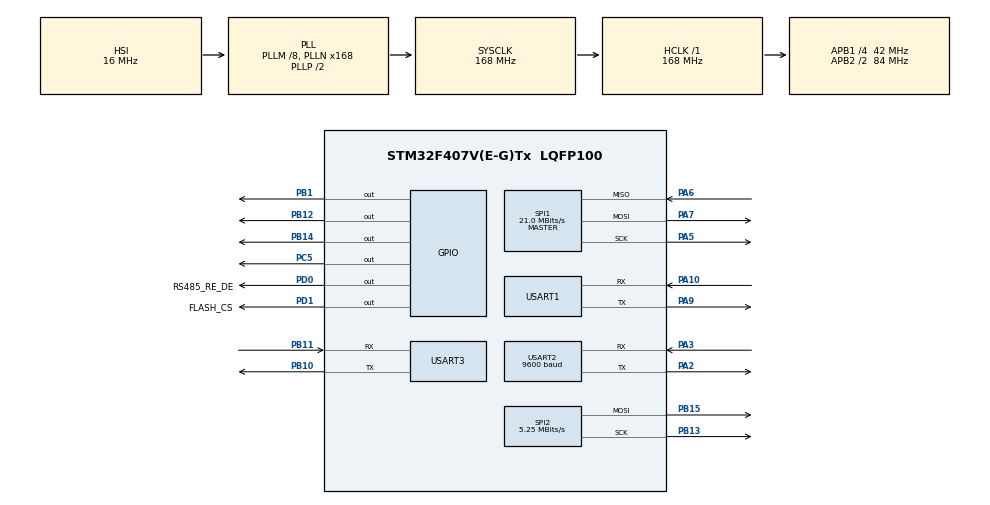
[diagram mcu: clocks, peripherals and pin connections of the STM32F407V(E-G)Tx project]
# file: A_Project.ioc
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FREERTOS.Tasks01=UITask,24,1024,StartUITask,Default,NULL,Dynamic,NULL,NULL;SensorTask,9,512,StartSensorTask,Default,NULL,Dynamic,NULL,NULL;MQTTTask,8,512,StartMQTTTask,Default,NULL,Dynamic,NULL,NULL;NetworkTask,8,512,StartNetworkTask,Default,NULL,Dynamic,NULL,NULL;DogTask,48,256,StartDogTask,Default,NULL,Dynamic,NULL,NULL
FREERTOS.configTOTAL_HEAP_SIZE=49152
FREERTOS.configUSE_TICK_HOOK=1
Mcu.Family=STM32F4
Mcu.Name=STM32F407V(E-G)Tx
Mcu.Package=LQFP100
NVIC.PriorityGroup=NVIC_PRIORITYGROUP_4
NVIC.TIM8_TRG_COM_TIM14_IRQn=true\:15\:0\:false\:false\:true\:false\:false\:true\:true
NVIC.TimeBase=TIM8_TRG_COM_TIM14_IRQn
NVIC.TimeBaseIP=TIM14
NVIC.USART1_IRQn=true\:5\:0\:false\:false\:true\:true\:true\:true\:true
NVIC.USART2_IRQn=true\:5\:0\:false\:false\:true\:true\:true\:true\:true
NVIC.USART3_IRQn=true\:5\:0\:false\:false\:true\:true\:true\:true\:true
PA10.Mode=Asynchronous
PA10.Signal=USART1_RX
PA13.Mode=Serial_Wire
PA13.Signal=SYS_JTMS-SWDIO
PA14.Mode=Serial_Wire
PA14.Signal=SYS_JTCK-SWCLK
PA2.Mode=Asynchronous
PA2.Signal=USART2_TX
PA3.Mode=Asynchronous
PA3.Signal=USART2_RX
PA5.Mode=Full_Duplex_Master
PA5.Signal=SPI1_SCK
PA6.Mode=Full_Duplex_Master
PA6.Signal=SPI1_MISO
PA7.Mode=Full_Duplex_Master
PA7.Signal=SPI1_MOSI
PA9.Mode=Asynchronous
PA9.Signal=USART1_TX
PB1.GPIO_Speed=GPIO_SPEED_FREQ_VERY_HIGH
PB1.Signal=GPIO_Output
PB10.Mode=Asynchronous
PB10.Signal=USART3_TX
PB11.Mode=Asynchronous
PB11.Signal=USART3_RX
PB12.GPIO_Speed=GPIO_SPEED_FREQ_VERY_HIGH
PB12.Signal=GPIO_Output
PB13.Mode=TX_Only_Simplex_Unidirect_Master
PB13.Signal=SPI2_SCK
PB14.GPIO_Speed=GPIO_SPEED_FREQ_VERY_HIGH
PB14.Signal=GPIO_Output
PB15.Mode=TX_Only_Simplex_Unidirect_Master
PB15.Signal=SPI2_MOSI
PB8.Signal=CAN1_RX
PB9.Signal=CAN1_TX
PC5.GPIO_Speed=GPIO_SPEED_FREQ_VERY_HIGH
PC5.Signal=GPIO_Output
PD0.GPIO_Label=RS485_RE_DE
PD0.Signal=GPIO_Output
PD1.GPIO_Label=FLASH_CS
PD1.GPIO_Speed=GPIO_SPEED_FREQ_VERY_HIGH
PD1.PinState=GPIO_PIN_SET
PD1.Signal=GPIO_Output
PH0-OSC_IN.Mode=HSE-External-Oscillator
PH0-OSC_IN.Signal=RCC_OSC_IN
PH1-OSC_OUT.Mode=HSE-External-Oscillator
PH1-OSC_OUT.Signal=RCC_OSC_OUT
ProjectManager.HeapSize=0x200
ProjectManager.StackSize=0x400
ProjectManager.TargetToolchain=MDK-ARM V5.32
RCC.48MHZClocksFreq_Value=84000000
RCC.AHBFreq_Value=168000000
RCC.APB1CLKDivider=RCC_HCLK_DIV4
RCC.APB1Freq_Value=42000000
RCC.APB1TimFreq_Value=84000000
RCC.APB2CLKDivider=RCC_HCLK_DIV2
RCC.APB2Freq_Value=84000000
RCC.APB2TimFreq_Value=168000000
RCC.CortexFreq_Value=168000000
RCC.HCLKFreq_Value=168000000
RCC.HSE_VALUE=25000000
RCC.HSI_VALUE=16000000
RCC.LSE_VALUE=32768
RCC.PLLM=8
RCC.PLLN=168
RCC.SYSCLKFreq_VALUE=168000000
RCC.SYSCLKSource=RCC_SYSCLKSOURCE_PLLCLK
RCC.VCOOutputFreq_Value=336000000
SPI1.BaudRatePrescaler=SPI_BAUDRATEPRESCALER_4
SPI1.CalculateBaudRate=21.0 MBits/s
SPI1.Direction=SPI_DIRECTION_2LINES
SPI1.Mode=SPI_MODE_MASTER
SPI1.VirtualType=VM_MASTER
SPI2.BaudRatePrescaler=SPI_BAUDRATEPRESCALER_8
SPI2.CalculateBaudRate=5.25 MBits/s
SPI2.Direction=SPI_DIRECTION_2LINES
SPI2.Mode=SPI_MODE_MASTER
SPI2.VirtualType=VM_MASTER
USART1.VirtualMode=VM_ASYNC
USART2.BaudRate=9600
USART2.VirtualMode=VM_ASYNC
USART3.VirtualMode=VM_ASYNC
VP_FREERTOS_VS_CMSIS_V2.Mode=CMSIS_V2
VP_SYS_VS_tim14.Mode=TIM14
board=custom

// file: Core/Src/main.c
/* USER CODE BEGIN Header */
/**
  ******************************************************************************
  * @file           : main.c
  * @brief          : Main program body
  ******************************************************************************
  * @attention
  *
  * Copyright (c) 2026 STMicroelectronics.
  * All rights reserved.
  *
  * This software is licensed under terms that can be found in the LICENSE file
  * in the root directory of this software component.
  * If no LICENSE file comes with this software, it is provided AS-IS.
  *
  ******************************************************************************
  */
/* USER CODE END Header */
#include "main.h"
#include "cmsis_os.h"
#include "spi.h"
#include "usart.h"
#include "gpio.h"

/* USER CODE BEGIN Includes */
#include "st7735.h"
/* USER CODE END Includes */

void SystemClock_Config(void);
void MX_FREERTOS_Init(void);

int main(void)
{

  /* USER CODE BEGIN 1 */

  /**
   * @brief OTA 场景下的中断向量表重定位
   *
   * APP 烧在 0x08010000（前 64KB 留给 Bootloader），向量表也必须搬到同一地址，
   * 否则中断仍然去 0x08000000 取入口，会跑进 Bootloader 的处理函数甚至 HardFault。
   *
   * 位置很关键 —— 必须放在 HAL_Init() 之前：
   *   本工程用 TIM14 作为 HAL 时基（stm32f4xx_hal_timebase_tim.c），
   *   HAL_Init() 内部就会使能 TIM14 的中断。若 VTOR 在 HAL_Init() 之后才搬，
   *   这段窗口里到达的中断仍会按 Bootloader 的向量表分发。
   *   放在 main 的第一句时，NVIC 还处于复位后的全关状态，不存在竞争窗口。
   */
  SCB->VTOR = FLASH_BASE | 0x10000U;
  __DSB();   /* 保证 VTOR 写入在任何后续异常取向量之前生效 */
  __ISB();

  /* USER CODE END 1 */

  /* MCU Configuration--------------------------------------------------------*/

  /* Reset of all peripherals, Initializes the Flash interface and the Systick. */
  HAL_Init();

  /* Configure the system clock */
  SystemClock_Config();

  /* Initialize all configured peripherals */
  MX_GPIO_Init();
  MX_SPI2_Init();
  MX_SPI1_Init();
  MX_USART1_UART_Init();
  MX_USART2_UART_Init();
  MX_USART3_UART_Init();
  /* USER CODE BEGIN 2 */
  ST7735_Init();
  // ST7735_Clear(WHITE);
  // ST7735_ShowString(4, 40, "ST7735 OK", BLACK, WHITE);
  // HAL_Delay(3000);   // 延时 3 秒，肉眼确认
  /* USER CODE END 2 */

  /* Init scheduler */
  osKernelInitialize();  /* Call init function for freertos objects (in cmsis_os2.c) */
  MX_FREERTOS_Init();

  /* Start scheduler */
  osKernelStart();

  /* We should never get here as control is now taken by the scheduler */

  /* Infinite loop */
  while (1)
  {

  }
}

void SystemClock_Config(void)
{
  RCC_OscInitTypeDef RCC_OscInitStruct = {0};
  RCC_ClkInitTypeDef RCC_ClkInitStruct = {0};

  /** Configure the main internal regulator output voltage
  */
  __HAL_RCC_PWR_CLK_ENABLE();
  __HAL_PWR_VOLTAGESCALING_CONFIG(PWR_REGULATOR_VOLTAGE_SCALE1);

  /** Initializes the RCC Oscillators according to the specified parameters
  * in the RCC_OscInitTypeDef structure.
  */
  RCC_OscInitStruct.OscillatorType = RCC_OSCILLATORTYPE_HSI;
  RCC_OscInitStruct.HSIState = RCC_HSI_ON;
  RCC_OscInitStruct.HSICalibrationValue = RCC_HSICALIBRATION_DEFAULT;
  RCC_OscInitStruct.PLL.PLLState = RCC_PLL_ON;
  RCC_OscInitStruct.PLL.PLLSource = RCC_PLLSOURCE_HSI;
  RCC_OscInitStruct.PLL.PLLM = 8;
  RCC_OscInitStruct.PLL.PLLN = 168;
  RCC_OscInitStruct.PLL.PLLP = RCC_PLLP_DIV2;
  RCC_OscInitStruct.PLL.PLLQ = 4;
  if (HAL_RCC_OscConfig(&RCC_OscInitStruct) != HAL_OK)
  {
    Error_Handler();
  }

  /** Initializes the CPU, AHB and APB buses clocks
  */
  RCC_ClkInitStruct.ClockType = RCC_CLOCKTYPE_HCLK|RCC_CLOCKTYPE_SYSCLK
                              |RCC_CLOCKTYPE_PCLK1|RCC_CLOCKTYPE_PCLK2;
  RCC_ClkInitStruct.SYSCLKSource = RCC_SYSCLKSOURCE_PLLCLK;
  RCC_ClkInitStruct.AHBCLKDivider = RCC_SYSCLK_DIV1;
  RCC_ClkInitStruct.APB1CLKDivider = RCC_HCLK_DIV4;
  RCC_ClkInitStruct.APB2CLKDivider = RCC_HCLK_DIV2;

  if (HAL_RCC_ClockConfig(&RCC_ClkInitStruct, FLASH_LATENCY_5) != HAL_OK)
  {
    Error_Handler();
  }
}

void HAL_TIM_PeriodElapsedCallback(TIM_HandleTypeDef *htim)
{
  if (htim->Instance == TIM14)
  {
    HAL_IncTick();
  }
}

void Error_Handler(void)
{
  __disable_irq();
  while (1)
  {
  }
}

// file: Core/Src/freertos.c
/* USER CODE BEGIN Header */
/**
  ******************************************************************************
  * File Name          : freertos.c
  * Description        : Code for freertos applications
  ******************************************************************************
  * @attention
  *
  * Copyright (c) 2026 STMicroelectronics.
  * All rights reserved.
  *
  * This software is licensed under terms that can be found in the LICENSE file
  * in the root directory of this software component.
  * If no LICENSE file comes with this software, it is provided AS-IS.
  *
  ******************************************************************************
  */
/* USER CODE END Header */

#include "FreeRTOS.h"
#include "task.h"
#include "main.h"
#include "cmsis_os.h"

/* USER CODE BEGIN Includes */

#include "lvgl.h"
#include "lv_port_disp.h"
#include "w25q64.h"
#include "modbus_rtu.h"
#include "esp8266_ota.h"
#include "app_config.h"
#include "usart.h"
#include <stdio.h>
#include <string.h>

/* USER CODE END Includes */

/* USER CODE BEGIN PD */

#define BEMFA_UID   "3396ed7c726d437583ccb9b23e1f579a"
/* 主题必须在控制台建【不带物模型】的普通主题。
 * 原来用的 iqPs8B5XC019 创建时带了 airqualitysensor 设备模型，
 * 而模型没配置（protocol.error = "device model is not configured"），
 * 服务端会拒绝任何发布 —— 网页点发送报"发送失败"，HTTP API 回 40004。
 * 订阅在协议层不过模型校验，所以设备照样显示"在线"，极具迷惑性。
 * 新主题 OGLMjPSOz006 无 protocol 字段，实测发布返回 code=0 */
#define BEMFA_TOPIC "OGLMjPSOz006"

#define MQTT_BROKER_ADDR   "mqtt.bemfa.com"
#define MQTT_BROKER_PORT   9501U    /* 9501 = 明文 TCP；9503 是 TLS，需要额外配证书 */
#define MQTT_CONN_TIMEOUT  10000U   /* 等 +MQTTCONNECTED 的时间 */
#define MQTT_RESUB_PERIOD  30000U   /* 周期性补订阅的间隔 */

/* AT 调试口：USART1(115200) 在板上是空的（huart2=Modbus 9600，huart3=ESP8266），
 * 接一个 USB-TTL 就能看到完整的 AT 收发原文，MQTT 卡在哪一步一目了然。
 * 这里不用 printf 重定向：AC5 标准库的 printf 在没开 microlib 时会走
 * semihosting（BKPT 0xAB），一调用就直接卡死，比没有日志更糟。 */
#define AT_LOG_UART        huart1

/* MQTT 连接失败落在哪一步，0=正常/未失败：
 *   1 = 模块对 AT 无应答（波特率、供电、接线、没复位）
 *   2 = AT+MQTTUSERCFG 被拒（AT 固件不带 MQTT 指令集，硬件门槛）
 *   3 = 等不到 +MQTTCONNECTED（UID 被占用、网络不通、端口错）
 *   4 = AT+MQTTSUB 被拒（主题非法、链路已断） */
#define MQTT_STAGE_NONE      0U
#define MQTT_STAGE_NO_AT     1U
#define MQTT_STAGE_USERCFG   2U
#define MQTT_STAGE_CONN      3U
#define MQTT_STAGE_SUB       4U

/* USER CODE END PD */

/* USER CODE BEGIN Variables */

osMessageQueueId_t sensorQueueHandle; //传感器数据队列句柄（与 OTA 无关，只供 UI 读传感器）

/* ============================================================================
 * 全局状态变量关系图（四个变量，各管一层，不要混用）
 * ----------------------------------------------------------------------------
 *   g_ota_state      ：网络/OTA 生命周期（IDLE / CONNECTING / CONNECTED /
 *                      DOWNLOADING / ERROR）。只回答"现在处在哪个大阶段"。
 *   g_mqtt_online    ：MQTT 是否"已连接且已订阅"（0/1）。它比 WIFI_CONNECTED
 *                      更严格：WiFi 连上不代表巴法云能看到设备。
 *   g_mqtt_fail_stage：最近一次 MQTT 失败卡在哪一层（0..4），是**粘滞诊断值**；
 *                      成功后清 0，失败后保留，所以 UI 必须配合 online==0 看。
 *   g_at_tail        ：模块最近一次应答/OTA 阶段标记的 20 字摘要，纯诊断，
 *                      不参与任何控制流；UI 每 5ms 比较一次并刷新。
 *
 * 关系：
 *   g_ota_state == WIFI_CONNECTED  只是"可以开始 MQTT"的前置条件；
 *   g_mqtt_online == 1             才是"云端在线"；
 *   g_mqtt_fail_stage != NONE      且 online == 0 时，UI 才显示具体失败原因；
 *   g_at_tail 与上面三者没有因果，只反映"模块/OTA 最后说了什么"。
 *
 * 合法迁移（与 esp8266_ota.h 的枚举注释对应）：
 *   IDLE -> WIFI_CONNECTING -> WIFI_CONNECTED -> DOWNLOADING
 *                              ^         |
 *                              |         +-> 成功: 写标志 + NVIC_SystemReset()
 *                              |         +-> 失败: ERROR -> ESP8266_Init() -> WIFI_CONNECTED
 *                              +-- WiFi 失败: ERROR -> 5s -> WIFI_CONNECTING
 * ========================================================================== */

/* 网络/OTA 大阶段，供 UI 展示，也供 MQTTTask 等待 WiFi 就绪。
 * 重要：枚举值大小没有顺序语义（ERROR=5 > WIFI_CONNECTED=2），
 *       只能用 == / != 比较，禁止用 < / >。 */
volatile OTA_State_t g_ota_state = OTA_STATE_IDLE;

/* MQTT 是否处于"已连接且已订阅"状态，0=离线 1=在线。
 * 巴法云控制台显示的"订阅者 在线/离线"看的就是这条订阅，
 * 所以这个变量既用于屏幕显示，也用于决定要不要重连。
 * 注意：它和 g_ota_state 是**两个维度**；WIFI_CONNECTED + online=0 是正常组合。 */
volatile uint8_t g_mqtt_online = 0;

/* MQTT 最近一次失败卡在哪个阶段，含义见 MQTT_STAGE_xxx。
 * 屏幕会显示成 "MQTT: off noAT/noFW/noBroker/noSub"，
 * 不接串口也能判断是模块没应答、AT 固件不支持 MQTT、连不上 Broker，还是订阅被拒。
 * 它是粘滞值：成功后清 NONE，失败后保留；因此 UI 判断时必须加 online==0 前置。 */
volatile uint8_t g_mqtt_fail_stage = MQTT_STAGE_NONE;

/* 模块最近一次应答的可打印摘要（最多 20 字符 + '\0'），UI 直接显示。
 * 这是"模块到底回没回"的直接证据，不接串口也能判：
 *   "<no data>" = 本次抓拍时缓冲为空（不等于模块没应答，可能只是没抓到）
 *   "ERROR"     = 模块听懂了但拒绝（多见于 AT 固件不带 MQTT 指令集）
 *   "otaX:..."  = OTA 当前卡在哪一步（由 esp8266_ota.c 的 OTA_Mark 写入）
 * 写入者：ESP_DumpResp / OTA_Mark / OTA_MarkText / OTA 进度 / MQTT 成功态；
 * 读取者：UITask。它是诊断快照，不参与控制流。 */
char g_at_tail[22] = {0};

/* USER CODE END Variables */
/* Definitions for UITask */
osThreadId_t UITaskHandle;
const osThreadAttr_t UITask_attributes = {
  .name = "UITask",
  .stack_size = 1024 * 4,
  .priority = (osPriority_t) osPriorityNormal,
};
/* Definitions for SensorTask */
osThreadId_t SensorTaskHandle;
const osThreadAttr_t SensorTask_attributes = {
  .name = "SensorTask",
  .stack_size = 512 * 4,
  .priority = (osPriority_t) osPriorityLow1,
};
/* Definitions for MQTTTask */
osThreadId_t MQTTTaskHandle;
const osThreadAttr_t MQTTTask_attributes = {
  .name = "MQTTTask",
  /* 2048 -> 4096：HTTP OTA 下载是在这个任务里同步跑的，
   * ESP8266_HTTP_OTA_Download 自身有 cmd_buf[256] + http_req[256]
   * 以及 snprintf/strstr 的调用开销，本任务还有 at_cmd[256]，
   * 2048 只剩不到 500 字节余量，收包期间一旦叠加串口中断嵌套就很危险。
   * FreeRTOS 堆还有 48KB，多给 2KB 换稳定 */
  .stack_size = 1024 * 4,
  .priority = (osPriority_t) osPriorityLow,
};
/* Definitions for NetworkTask */
osThreadId_t NetworkTaskHandle;
const osThreadAttr_t NetworkTask_attributes = {
  .name = "NetworkTask",
  .stack_size = 512 * 4,
  .priority = (osPriority_t) osPriorityLow,
};
/* Definitions for DogTask */
osThreadId_t DogTaskHandle;
const osThreadAttr_t DogTask_attributes = {
  .name = "DogTask",
  .stack_size = 256 * 4,
  .priority = (osPriority_t) osPriorityRealtime,
};

void StartUITask(void *argument);
void StartSensorTask(void *argument);
void StartMQTTTask(void *argument);
void StartNetworkTask(void *argument);
void StartDogTask(void *argument);

void MX_FREERTOS_Init(void); /* (MISRA C 2004 rule 8.1) */

/* Hook prototypes */
void vApplicationTickHook(void);

/* USER CODE BEGIN 3 */
void vApplicationTickHook( void )
{
   /* This function will be called by each tick interrupt if
   configUSE_TICK_HOOK is set to 1 in FreeRTOSConfig.h. User code can be
   added here, but the tick hook is called from an interrupt context, so
   code must not attempt to block, and only the interrupt safe FreeRTOS API
   functions can be used (those that end in FromISR()). */
  lv_tick_inc(1);

}
/* USER CODE END 3 */

void MX_FREERTOS_Init(void) {

  /* USER CODE BEGIN RTOS_QUEUES */

  //创建一个容量为4的sensordata对象的队列
  sensorQueueHandle = osMessageQueueNew(4,sizeof(SensorData_t),NULL);

  /* add queues, ... */
  /* USER CODE END RTOS_QUEUES */

  /* Create the thread(s) */
  /* creation of UITask */
  UITaskHandle = osThreadNew(StartUITask, NULL, &UITask_attributes);

  /* creation of SensorTask */
  SensorTaskHandle = osThreadNew(StartSensorTask, NULL, &SensorTask_attributes);

  /* creation of MQTTTask */
  MQTTTaskHandle = osThreadNew(StartMQTTTask, NULL, &MQTTTask_attributes);

  /* creation of NetworkTask */
  NetworkTaskHandle = osThreadNew(StartNetworkTask, NULL, &NetworkTask_attributes);

  /* creation of DogTask */
  DogTaskHandle = osThreadNew(StartDogTask, NULL, &DogTask_attributes);

}

void StartUITask(void *argument)
{
  /* USER CODE BEGIN StartUITask */
  //初始化lvgl核心引擎与显示驱动
  lv_init();
  lv_port_disp_init();

  // 屏幕只有 128x160，关掉页面滚动，避免内容越界时冒出滑动条
  lv_obj_clear_flag(lv_scr_act(), LV_OBJ_FLAG_SCROLLABLE);
  lv_obj_set_style_pad_all(lv_scr_act(), 0, 0);

 // 1. 设置背景
  lv_obj_set_style_bg_color(lv_scr_act(), lv_color_hex(0x1B1F24), 0);
  lv_obj_set_style_bg_opa(lv_scr_act(), LV_OPA_COVER, 0);

  // 2. 标题（10 号字，128px 宽度刚好容纳这 17 个字符）
  //    版本号来自 app_config.h，改版本只改那一处
  lv_obj_t *title_label = lv_label_create(lv_scr_act());
  lv_label_set_text(title_label, "Edge Gateway " APP_VERSION_STR);
  lv_obj_set_style_text_font(title_label, &lv_font_montserrat_10, 0);
  lv_obj_set_style_text_color(title_label, lv_color_hex(0x58A6FF), 0);
  lv_obj_align(title_label, LV_ALIGN_TOP_MID, 0, 6);

  // 3. 硬件信息（拆成两行，整行放不下会横向溢出）
  uint16_t flash_id = W25Q64_ReadID();
  lv_obj_t *info_label = lv_label_create(lv_scr_act());
  char info_str[40];
  snprintf(info_str, sizeof(info_str), "Flash: 0x%04X\nRS485: ON", flash_id);
  lv_label_set_text(info_label, info_str);
  lv_obj_set_style_text_font(info_label, &lv_font_montserrat_10, 0);
  lv_obj_set_style_text_align(info_label, LV_TEXT_ALIGN_CENTER, 0);
  lv_obj_set_style_text_color(info_label, lv_color_hex(0x8B949E), 0);
  lv_obj_align(info_label, LV_ALIGN_TOP_MID, 0, 26);

  // 4. 温度标签（16 号，作为主读数突出显示）
  lv_obj_t *temp_label = lv_label_create(lv_scr_act());
  lv_label_set_text(temp_label, "T: --.-C");
  lv_obj_set_style_text_font(temp_label, &lv_font_montserrat_16, 0);
  lv_obj_set_style_text_color(temp_label, lv_color_hex(0xF85149), 0);
  lv_obj_align(temp_label, LV_ALIGN_TOP_MID, 0, 66);

  // 5. 湿度标签（16 号）
  lv_obj_t *humi_label = lv_label_create(lv_scr_act());
  lv_label_set_text(humi_label, "H: --.-%");
  lv_obj_set_style_text_font(humi_label, &lv_font_montserrat_16, 0);
  lv_obj_set_style_text_color(humi_label, lv_color_hex(0x3FB950), 0);
  lv_obj_align(humi_label, LV_ALIGN_TOP_MID, 0, 92);

  // 6. 网络/OTA 状态（独立标签，不再覆盖上面的硬件信息）
  lv_obj_t *status_label = lv_label_create(lv_scr_act());
  lv_label_set_text(status_label, "WiFi: idle");
  lv_obj_set_style_text_font(status_label, &lv_font_montserrat_10, 0);
  lv_obj_set_style_text_color(status_label, lv_color_hex(0xD29922), 0);
  lv_obj_align(status_label, LV_ALIGN_TOP_MID, 0, 130);

  // 7. 模块应答回显：不接串口也能看到 ESP8266 到底回了什么。
  //    "<NO REPLY>" = 模块一个字节都没回（供电/接线/波特率/固件死机）
  //    "ERROR"      = 模块听懂了但拒绝（最常见：AT 固件不带 MQTT 指令集）
  lv_obj_t *at_label = lv_label_create(lv_scr_act());
  lv_label_set_text(at_label, "AT: -");
  lv_obj_set_style_text_font(at_label, &lv_font_montserrat_10, 0);
  lv_obj_set_style_text_color(at_label, lv_color_hex(0x8B949E), 0);
  lv_obj_align(at_label, LV_ALIGN_TOP_MID, 0, 144);

  SensorData_t recv_data;
  char val_buf[32];
  uint32_t ui_loop_cnt = 0;
  uint32_t update_cnt = 0;

  /* Infinite loop */
  for(;;)
  {

    // 处理队列与 UI 刷新
    while (osMessageQueueGet(sensorQueueHandle, &recv_data, NULL, 0) == osOK)
    {
      if (recv_data.is_valid)
      {
        int t = (int)(recv_data.temperature * 10);
        int h = (int)(recv_data.humidity * 10);
        snprintf(val_buf, sizeof(val_buf), "T: %d.%dC", t / 10, t % 10);
        lv_label_set_text(temp_label, val_buf);

        snprintf(val_buf, sizeof(val_buf), "H: %d.%d%%", h / 10, h % 10);
        lv_label_set_text(humi_label, val_buf);
      }
      else
      {
        lv_label_set_text(temp_label, "T: ERR");
        lv_label_set_text(humi_label, "H: OFF");
      }
    }

    // 实时同步显示当前 Wi-Fi / MQTT / OTA 状态
    // 把 MQTT 在线状态单独列出来：WiFi 连上 ≠ 云端能看到设备，
    // 这两件事分开显示，才能一眼看出"离线"卡在哪一层
    static OTA_State_t last_ota_state   = OTA_STATE_IDLE;
    static uint8_t     last_mqtt_online = 0xFF;
    static uint8_t     last_fail_stage  = 0xFF;
    /* 失败阶段码也参与变化判据：一直 offline 时若只看 online 位，
     * 屏幕永远不刷新，就看不出是"模块没应答"还是"连不上 Broker" */
    if ((g_ota_state != last_ota_state) ||
        (g_mqtt_online != last_mqtt_online) ||
        (g_mqtt_fail_stage != last_fail_stage))
    {
        char st[28];

        last_ota_state   = g_ota_state;
        last_mqtt_online = g_mqtt_online;
        last_fail_stage  = g_mqtt_fail_stage;

        if ((g_mqtt_online == 0U) && (g_mqtt_fail_stage == MQTT_STAGE_NO_AT))
            /* 模块连 AT 都不回：这是链路层，和 MQTT/WiFi 配置都无关。
             * 必须加 online==0 前置：阶段码是"上一次失败"的残留，
             * 一旦重连成功它会被清成 NONE，但在清除之前的窗口里
             * 这个分支优先级最高，会把 "MQTT: online" 盖成 "ESP: NO AT!" */
            lv_label_set_text(status_label, "ESP: NO AT!");
        else if (g_ota_state == OTA_STATE_WIFI_CONNECTING)
            lv_label_set_text(status_label, "WiFi: connecting");
        else if (g_ota_state == OTA_STATE_DOWNLOADING)
            lv_label_set_text(status_label, "OTA: downloading");
        else if (g_ota_state == OTA_STATE_ERROR)
            lv_label_set_text(status_label, "WiFi/OTA: error");
        else if (g_ota_state == OTA_STATE_WIFI_CONNECTED)
        {
            if (g_mqtt_online)
            {
                lv_label_set_text(status_label, "MQTT: online");
            }
            else
            {
                /* 用短语代替纯数字：数字容易被误读，而且未定义值能一眼看出来。
                 * 出现 "errN" 就说明这个变量被内存越界写坏了（代码里只赋 0/2/3/4） */
                switch (g_mqtt_fail_stage)
                {
                  case MQTT_STAGE_NONE:    snprintf(st, sizeof(st), "MQTT: off try");      break;
                  case MQTT_STAGE_NO_AT:   snprintf(st, sizeof(st), "MQTT: off noAT");     break;
                  case MQTT_STAGE_USERCFG: snprintf(st, sizeof(st), "MQTT: off noFW");     break;
                  case MQTT_STAGE_CONN:    snprintf(st, sizeof(st), "MQTT: off noBroker"); break;
                  case MQTT_STAGE_SUB:     snprintf(st, sizeof(st), "MQTT: off noSub");    break;
                  default:                 snprintf(st, sizeof(st), "MQTT: err%u", (unsigned)g_mqtt_fail_stage); break;
                }
                lv_label_set_text(status_label, st);
            }
        }
    }

    /* 模块应答回显：只在内容变化时重设文本，避免每 5ms 刷一次屏幕 */
    static char last_at_tail[22] = "";
    if (strcmp(g_at_tail, last_at_tail) != 0)
    {
        char at_text[28];

        strncpy(last_at_tail, g_at_tail, sizeof(last_at_tail) - 1U);
        last_at_tail[sizeof(last_at_tail) - 1U] = '\0';

        snprintf(at_text, sizeof(at_text), "AT: %s", g_at_tail);
        lv_label_set_text(at_label, at_text);
    }

    // 这两行必须在 for 循环主干上，决不能套进 if 内部！
    lv_timer_handler();
    osDelay(5);

  }
  /* USER CODE END StartUITask */
}

void StartSensorTask(void *argument)
{
  /* USER CODE BEGIN StartSensorTask */

  Modbus_Init();
  SensorData_t sensor_data;

  //模拟调试标志：未连接物理设备可以生成仿真数据测试
  //有物理传感器可以改simulation改为0
  #define SIMULATION 1

  #if SIMULATION
  static float sim_temp = 25.5f;
  static float sim_humi = 50.0f;
  #endif

  /* Infinite loop */
  for(;;)
  {
#if SIMULATION
    sim_temp += 0.5f;
    if (sim_temp > 40.0f) {
      sim_temp = 20.0f;
    }

    sim_humi += 1.0f;
    if (sim_humi > 90.0f) {
      sim_humi = 40.0f;
    }

    sensor_data.temperature = sim_temp;
    sensor_data.humidity = sim_humi;
    sensor_data.is_valid = true;
#else
    //真实数据
    KTH2R_ReadData(&sensor_data);
#endif

    //通过消息队列推送(非阻塞)
    if(sensorQueueHandle != NULL)
    {
      osMessageQueuePut(sensorQueueHandle,&sensor_data,0,0);

    }

    //1000ms采集一次
    osDelay(1000);

  }
  /* USER CODE END StartSensorTask */
}

/* ==================================================================
 * 巴法云 MQTT 连接辅助
 *
 * 关键点：ESP-AT 回的 "OK" 只代表"指令格式被接受"，连接/订阅的结果是
 * 随后异步打印的事件：+MQTTCONNECTED / +MQTTSUB:...
 * 只等 OK 就往下走，SUB 往往在 TCP 尚未就绪时被拒，而原代码不检查、不重试，
 * 巴法云端看到的就是一直"订阅者 离线"。
 * ================================================================== */

/* ================================================================== *
 * AT 层调试输出：全部走 USART1(115200)，阻塞发送。
 * 任务里发几十字节 ≈ 几毫秒，不影响 1s 的轮询周期，
 * 但省掉了 printf 重定向带来的 semihosting 卡死风险。
 * ================================================================== */
static void ESP_Log(const char *s)
{
  if (s == NULL) return;
  HAL_UART_Transmit(&AT_LOG_UART, (uint8_t *)s, (uint16_t)strlen(s), 50);
}

/* 把模块最近一次原始应答打到调试口（截前 192 字节）。
 * 里面带 \r\n 也无所谓，串口助手里原样换行，正好看清模块到底回了什么。
 * 同时截一份"可打印副本"给屏幕用：不接串口也能看到模块到底回没回、
 * 回的是 OK 还是 ERROR —— 这是区分"模块沉默"和"模块拒绝"的唯一直接证据 */
static void ESP_DumpResp(void)
{
  uint16_t n = ESP8266_GetRxLen();
  uint16_t i;
  uint16_t start;
  uint8_t  k = 0;

  /* 取缓冲区【尾部】而不是开头。
   * 失败时真正要看的永远是"模块最后回了什么"：
   *   - AT+CWJAP 超时 15 秒，期间模块在自动重连，前面的内容全是旧日志，
   *     取开头只会看到一堆过期的 WIFI CONNECTED，看不到最后那条应答
   *   - 缓冲可能涨到几 KB，开头 192 字节和当前故障毫无关系 */
  start = (n > 192U) ? (uint16_t)(n - 192U) : 0U;

  ESP_Log("\r\n[AT<] ");
  if (n > start)
  {
    HAL_UART_Transmit(&AT_LOG_UART, &esp_rx_buf[start], (uint16_t)(n - start), 100);
  }
  ESP_Log("\r\n");

  /* 取尾部 20 个可打印字符给屏幕，控制字符折叠成一个空格 */
  for (i = start; (i < n) && (k < 20U); i++)
  {
    uint8_t c = esp_rx_buf[i];

    if ((c >= 0x20U) && (c < 0x7FU))
    {
      g_at_tail[k++] = (char)c;
    }
    else if ((k > 0U) && (g_at_tail[k - 1U] != ' '))
    {
      g_at_tail[k++] = ' ';
    }
  }

  if (k == 0U)
  {
    /* 这里只能说明"调用这一刻缓冲区是空的"，不能等同于"模块没应答"。
     * 原因有两条：ESP8266_SendCmd 一进函数就 ClearBuf，应答也还没到就被抓拍；
     * 而且 DumpResp 只在少数失败路径被调用，成功路径根本不刷新这个快照。
     * 原来写成 "<NO REPLY>" 会把"没抓到"误读成"模块哑了" —— 明明 MQTT 已经
     * 在线（USERCFG/CONN/SUB 全回了 OK），屏幕却一直挂着 NO REPLY。
     * 改成 <no data> 表示"本次抓拍为空"，真正的无应答由 g_mqtt_fail_stage
     * 的 NO_AT 判定，两者不再混为一谈 */
    g_at_tail[0] = '<'; g_at_tail[1] = 'n'; g_at_tail[2] = 'o';
    g_at_tail[3] = ' '; g_at_tail[4] = 'd'; g_at_tail[5] = 'a';
    g_at_tail[6] = 't'; g_at_tail[7] = 'a'; g_at_tail[8] = '>';
    g_at_tail[9] = '\0';
  }
  else
  {
    g_at_tail[k] = '\0';
  }
}

/* 打印一个十进制诊断值（串口错误计数等） */
static void ESP_LogNum(const char *tag, uint32_t v)
{
  char b[40];

  snprintf(b, sizeof(b), "%s%u\r\n", tag, (unsigned)v);
  ESP_Log(b);
}

/* 在接收缓冲区里等两个关键字之一出现（传 NULL 表示不关心该关键字） */
static bool ESP_Wait_Any(const char *tok0, const char *tok1, uint32_t timeout_ms)
{
  uint32_t start = osKernelGetTickCount();

  while ((osKernelGetTickCount() - start) < timeout_ms)
  {
    if ((tok0 != NULL) && (strstr((const char *)esp_rx_buf, tok0) != NULL)) return true;
    if ((tok1 != NULL) && (strstr((const char *)esp_rx_buf, tok1) != NULL)) return true;
    osDelay(10);
  }
  return false;
}

/* 发一条 AT 指令并判别结果：
 *   1 = 收到期望应答   2 = 模块回 ERROR（被拒）   0 = 超时无应答
 * 比 ESP8266_SendCmd 多一个"被拒"的区分，排查时能分清是没反应还是被拒绝 */
static uint8_t ESP_Cmd_Check(const char *cmd, const char *ack, uint32_t timeout_ms)
{
  const char *p_ack;
  const char *p_err;

  ESP_Log("[AT>] ");
  ESP_Log(cmd);

  ESP8266_SendCmd(cmd, NULL, 0);       /* 只发不等：内部先清缓冲，然后立即返回 */

  if (!ESP_Wait_Any(ack, "ERROR", timeout_ms))
  {
    ESP_Log("[AT<] TIMEOUT, no response from module\r\n");
    ESP_DumpResp();
    return 0U;
  }

  /* 两者都出现时按"谁在前"判定。
   * 原来只判断 ack 是否存在，一旦缓冲里残留了上一条指令的 ERROR，
   * 这条明明成功也会被判成失败 —— MQTT 会一直重连不上 */
  p_ack = strstr((const char *)esp_rx_buf, ack);
  p_err = strstr((const char *)esp_rx_buf, "ERROR");

  if ((p_ack != NULL) && ((p_err == NULL) || (p_ack < p_err)))
  {
    ESP_Log("[AT<] OK\r\n");
    return 1U;
  }

  ESP_Log("[AT<] ERROR\r\n");
  ESP_DumpResp();
  return 2U;
}

/* 完整的"连接 + 订阅"，返回 true 表示已连上且已订阅。
 *
 * 调用上下文：
 *   - 只从 MQTTTask 调用（g_mqtt_online == 0 时），不与其他任务共享；
 *   - 内部全是阻塞式 AT 等待，最长 MQTT_CONN_TIMEOUT + 若干次重试；
 *   - 调用期间 USART3 归 MQTTTask 独占，OTA 不可能同时进来。
 *
 * 对全局变量的副作用：
 *   成功 -> g_mqtt_fail_stage = NONE；esp_rx_buf 里保留最后应答；
 *           调用方（StartMQTTTask）再把 g_mqtt_online 置 1；
 *   失败 -> 只设置 g_mqtt_fail_stage（USERCFG/CONN/SUB），不碰 online；
 *           由调用方决定 3s 后重试。
 */
static bool MQTT_Connect_And_Subscribe(void)
{
  char cmd[256];
  uint8_t i;

  ESP_Log("\r\n==== MQTT connect ====\r\n");
  /* 每轮重连都报一次串口错误计数：
   * 这个数一直在涨，说明 USART3 反复溢出（模块回得快、CPU 忙），
   * 那 MQTT 连不上就不是配置问题，而是接收链路在丢数据 */
  ESP_LogNum("[UART3] err cnt = ", g_uart3_err_cnt);

  /* 先清掉上一次的客户端实例。巴法云同一个 UID 只允许一个客户端在线，
   * 残留连接会把新连接顶掉，现象就是控制台反复"离线" */
  ESP8266_SendCmd("AT+MQTTCLEAN=0\r\n", "OK", 1000);
  /* 给模块 300ms 真正释放 link 0。MQTTCLEAN 回 OK 只代表命令收到，
   * 立刻发 USERCFG 会偶发 ERROR（配置项还没解绑完） */
  osDelay(300);

  /* 1. 客户端参数：ClientID 必须填私钥(UID)，用户名/密码留空。
   *
   * 这两条指令名不通用，刷的固件不同就得用不同的：
   *   ESP-AT v2.x（ESP-12F/ESP32 官方固件） -> AT+MQTTUSERCFG
   *   安信可 MQTT 固件 1471（ESP-01S 1MB）  -> AT+MQTTCFG
   * 先试前者，被拒再试后者。两种固件都能跑，以后换模块不用改代码，
   * 也省掉"刷完发现指令名不对、又连不上"的一轮来回 */
  for (i = 0; i < 2U; i++)
  {
    const char *verb = (i == 0U) ? "AT+MQTTUSERCFG" : "AT+MQTTCFG";
    uint8_t try_n;

    snprintf(cmd, sizeof(cmd),
             "%s=0,1,\"%s\",\"\",\"\",0,0,\"\"\r\n", verb, BEMFA_UID);

    for (try_n = 0; try_n < 2U; try_n++)
    {
      if (ESP_Cmd_Check(cmd, "OK", 1500U) == 1U)
      {
        break;
      }
      osDelay(300);
    }

    if (try_n < 2U)
    {
      ESP_Log("[MQTT] user-cfg accepted\r\n");
      break;
    }
    ESP_Log("[MQTT] cfg verb rejected, try the other name\r\n");
  }

  if (i == 2U)
  {
    /* 两种指令名都被拒：这个 AT 固件确实不带 MQTT 指令集。
     * 这是硬门槛（AT 1.7.4.0 就是这种），代码改不出来，必须刷 MQTT 固件 */
    g_mqtt_fail_stage = MQTT_STAGE_USERCFG;
    ESP_Log("[MQTT] USERCFG/MQTTCFG both rejected -> fw has NO MQTT\r\n");
    return false;
  }

  /* 2. 连 Broker：等 +MQTTCONNECTED，不能只等 OK
   * （OK 只表示指令被接受，真正连上要等异步事件） */
  snprintf(cmd, sizeof(cmd), "AT+MQTTCONN=0,\"%s\",%u,1\r\n",
           MQTT_BROKER_ADDR, (unsigned)MQTT_BROKER_PORT);
  ESP_Log("[AT>] ");
  ESP_Log(cmd);
  ESP8266_SendCmd(cmd, NULL, 0);
  if (!ESP_Wait_Any("+MQTTCONNECTED", NULL, MQTT_CONN_TIMEOUT))
  {
    g_mqtt_fail_stage = MQTT_STAGE_CONN;
    ESP_Log("[MQTT] wait +MQTTCONNECTED timeout\r\n");
    ESP_DumpResp();
    return false;      /* UID 被占用 / 网络不通 / 端口写错，都会落到这里 */
  }
  ESP_Log("[MQTT] +MQTTCONNECTED\r\n");

  /* 3. 订阅主题：巴法云就是靠这条订阅把设备判为"在线" */
  snprintf(cmd, sizeof(cmd), "AT+MQTTSUB=0,\"%s\",0\r\n", BEMFA_TOPIC);
  if ((ESP_Cmd_Check(cmd, "OK", 3000U) != 1U) &&
      (strstr((const char *)esp_rx_buf, "+MQTTSUB:") == NULL))
  {
    g_mqtt_fail_stage = MQTT_STAGE_SUB;
    ESP_Log("[MQTT] SUB rejected\r\n");
    return false;      /* 部分 AT 版本订阅成功只回 +MQTTSUB，不回 OK */
  }

  g_mqtt_fail_stage = MQTT_STAGE_NONE;
  /* 把 AT 应答快照也刷成成功态。
   * g_at_tail 只在 ESP_DumpResp() 里更新，而那只在失败路径被调用 ——
   * 一旦某次失败留下旧内容，之后所有指令都成功也不会再刷新，
   * 屏幕第二行就永远冻在历史残影上。这里显式改写成 OK */
  g_at_tail[0] = 'O'; g_at_tail[1] = 'K'; g_at_tail[2] = '\0';
  ESP_Log("[MQTT] subscribed, online\r\n");
  return true;
}

void StartMQTTTask(void *argument)
{
  /* USER CODE BEGIN StartMQTTTask */

  char at_cmd[256];
  uint32_t last_resub_tick = 0;

  /* 等 NetworkTask 把 WiFi 连上。
   * 原条件写的是 g_ota_state < WIFI_CONNECTED，但 ERROR 是枚举里最后一个值(=5)，
   * 失败时反而判定为"已就绪"，属于条件写反 —— 这里显式等 CONNECTED */
  while (g_ota_state != OTA_STATE_WIFI_CONNECTED)
  {
    osDelay(500);
  }

  ESP_Log("\r\n[NET] WiFi ready, start MQTT\r\n");

  /* 开机先报 AT 固件版本。ESP8266 有一批很老的 AT 固件（AT v0.21 一类）
   * 根本不含 MQTT 指令集，那种模块发 AT+MQTTUSERCFG 只会回 ERROR，
   * 代码再怎么改也连不上。这一行就是判断"是不是硬门槛"的直接证据 */
  ESP_Log("[AT>] AT+GMR\r\n");
  /* 上电后 ESP-AT 会自动重连已保存的 AP，串口这时候在吐 WIFI CONNECTED /
   * +STA_CONNECTED 这类主动上报，1000ms 等不到 OK 很常见。
   * 等不到就再发一次，避免把"模块正忙"误判成"模块哑了" */
  if (!ESP8266_SendCmd("AT+GMR\r\n", "OK", 2500))
  {
    ESP8266_SendCmd("AT+GMR\r\n", "OK", 2500);
  }
  ESP_DumpResp();

  /* ================= 本任务主循环的职责顺序（每轮约 1s） =================
   *   0. 若 g_mqtt_online == 0：完整重连 + 订阅；失败 3s 后重试
   *   1. 检查 +MQTTSUBRECV + "upgrade"：触发 OTA（同步阻塞，独占 USART3）
   *   2. 检查 +MQTTDISCONNECTED：置离线，下一轮重连
   *   3. 每 30s 补订阅（幂等，兜住模块静默重连后订阅丢失）
   *   4. 缓冲 > 3/4：清空，防止 esp_rx_len 封顶后再也收不到数据
   *
   * 顺序不能换：必须"先确保在线，再处理 OTA/断线/补订阅"；
   * OTA 分支最后 continue，避免同轮继续跑补订阅去抢串口。
   * ==================================================================== */
  for(;;)
  {
    /* 0. 未在线就先连接 + 订阅。连不上就 3 秒后重试，
     *    状态一直显示 "MQTT: offline"，方便判断卡在哪一步 */
    if (g_mqtt_online == 0U)
    {
      if (MQTT_Connect_And_Subscribe())
      {
        g_mqtt_online    = 1U;
        last_resub_tick  = osKernelGetTickCount();
      }
      else
      {
        ESP_Log("[MQTT] connect failed, retry in 3s\r\n");
        osDelay(3000);
        continue;
      }
    }

    /* ===================== OTA 触发点 =====================
     *
     * 云端往订阅主题发一条 "upgrade"，模块会主动上报：
     *   +MQTTSUBRECV:0,"<topic>",<len>,upgrade
     *
     * 【为什么在这里做 OTA，而不是单开一个任务】
     * ESP-01S 只有一路 UART，MQTT 心跳、AT 指令、HTTP 下载**共用同一个串口**。
     * 如果 OTA 放独立任务，就必须和 MQTT 任务抢串口 —— 那要加互斥锁、
     * 要处理"发到一半被插队"的问题，复杂度陡增。
     * 放在 MQTT 任务里同步执行，反而天然获得了**串口独占**：
     * 任务被 OTA 占住的这段时间，保活、补订阅、缓冲清理全都不会跑。
     *
     * 【代价】
     * 下载期间 MQTT 不保活，云端会显示离线 —— 这是可接受的，
     * 因为升级本来就该断开业务连接。失败后会主动重连回来。
     *
     * 【状态流转】
     *   WIFI_CONNECTED --收到 upgrade--> DOWNLOADING
     *        |                                |
     *        |                       成功: 写标志 + NVIC_SystemReset()
     *        |                       失败: ERROR -> ESP8266_Init() -> WIFI_CONNECTED
     *        +--------------------------------+
     */
    /* 收到消息时，ESP8266 会主动上报：
     *   +MQTTSUBRECV:0,"<topic>",<len>,upgrade
     *
     * 注意：这里用 strstr 直接扫 esp_rx_buf，依赖“缓冲区末尾可读且最终有 0”
     * 这一隐含前提（ClearBuf 会 memset，ISR 最多写到 2046）。
     * OTA 解析器内部已经改成带长度的 OTA_BufFind；如果以后要严格化，
     * 这里也应换成“按 esp_rx_len 做有界查找”，避免匹配到已消费的旧报文。 */
    if ((strstr((const char *)esp_rx_buf, "+MQTTSUBRECV:") != NULL) &&
        (strstr((const char *)esp_rx_buf, "upgrade") != NULL))
    {
      /* 第一步：主动断开 MQTT，把 link 0 和串口彻底让出来。
       * 顺序不能反 —— 必须先 ClearBuf 再发指令，否则缓冲里的
       * 旧数据会被当成 MQTTCLEAN 的应答（SendCmd 内部也会清一次，这里是双保险） */
      ESP_8266_ClearBuf();
      ESP8266_SendCmd("AT+MQTTCLEAN=0\r\n", "OK", 1000);
      g_mqtt_online = 0U;

      /* 给模块 500ms 收尾。MQTTCLEAN 回 OK 只代表"命令被接受"，
       * 底层那条 TCP 往往还在关闭过程中。立刻发下一条 AT 会偶发 ERROR，
       * 表现为 OTA 在第一步（CIPMODE/CIPMUX）就退出 */
      osDelay(500);

      /* 打一个起点标记：屏幕第二行会显示 "AT: ota0:begin"。
       * 之后每一步失败都会改写它（ota1..ota8），没接串口也能定位卡在哪一步。
       * 这是整个调试体系的第一层：设备状态外显 */
      snprintf(g_at_tail, sizeof(g_at_tail), "ota0:begin");

      //切换状态并触发HTTP OTA下载
      g_ota_state = OTA_STATE_DOWNLOADING;
      /* 服务器地址、端口、固件路径统一由 app_config.h 提供。
       *
       * 路径是固定名 "/A_Project.bin"，**不带版本号** ——
       * 这是"只推不烧"的关键：设备永远请求同一个 URL，
       * 服务端覆盖 ota_release/A_Project.bin 即生效。
       * 早期用的是 "/A_Project_v3.0.bin" 这种带版本号的名字，
       * 每发一版都要改这一行 + 重编译 + 重烧基线固件，
       * 那就不是远程升级，只是换了个方式烧录。 */
      if (!ESP8266_HTTP_OTA_Download(OTA_SERVER_IP, OTA_SERVER_PORT, OTA_FIRMWARE_PATH))
      {
        /* 下载失败不会复位，要把串口从 HTTP 流程里收回来再重连 MQTT，
         * 否则模块可能停在半连接状态（link 开着、CIPMODE 被自动清 0），
         * 之后所有 AT 指令都无响应。
         * 注意这里**不清 OTA 标志** —— 标志只在下载成功后才写，
         * 失败路径从来没写过，所以 W25Q64 里不会有半成品，
         * 下次上电 Bootloader 读不到合法标志，照样跳旧 APP */
        g_ota_state = OTA_STATE_ERROR;
        ESP8266_Init();
        g_ota_state = OTA_STATE_WIFI_CONNECTED;
      }
      g_mqtt_online = 0U;
      continue;
    }

    /* 断线：ESP-AT 会打印 +MQTTDISCONNECTED。模块自己会重连 TCP，
     * 但不会恢复订阅，所以这里让状态归零，由第 0 步做一次完整重连+重订阅 */
    if (strstr((const char *)esp_rx_buf, "+MQTTDISCONNECTED") != NULL)
    {
      ESP_8266_ClearBuf();
      g_mqtt_online = 0U;
      ESP_Log("[MQTT] broker disconnected\r\n");
      osDelay(1000);
      continue;
    }

    /* 保活补订阅：每 30 秒重发一次 SUB。
     * SUB 本身是幂等的，却能兜住"模块静默重连后订阅丢失"这类情况，
     * 巴法云只认订阅者，订阅丢了就显示离线 */
    if ((osKernelGetTickCount() - last_resub_tick) > MQTT_RESUB_PERIOD)
    {
      last_resub_tick = osKernelGetTickCount();
      snprintf(at_cmd, sizeof(at_cmd), "AT+MQTTSUB=0,\"%s\",0\r\n", BEMFA_TOPIC);
      if ((ESP_Cmd_Check(at_cmd, "OK", 3000U) == 1U) ||
          (strstr((const char *)esp_rx_buf, "+MQTTSUB:") != NULL))
      {
        g_mqtt_online = 1U;
      }
      else
      {
        g_mqtt_online     = 0U;   /* 补订阅失败按掉线处理，下一轮重新连接 */
        g_mqtt_fail_stage = MQTT_STAGE_SUB;
        ESP_Log("[MQTT] resubscribe failed\r\n");
      }
    }

    /* 缓冲保护：esp_rx_len 涨到上限后串口中断就不再收字符了，
     * 表现是"设备还连着但再也收不到任何指令"，必须定期清 */
    if (ESP8266_GetRxLen() > (ESP_RX_BUF_SIZE * 3U / 4U))
    {
      ESP_8266_ClearBuf();
    }

    osDelay(1000);
  }
  /* USER CODE END StartMQTTTask */
}

void StartNetworkTask(void *argument)
{
  /* USER CODE BEGIN StartNetworkTask */

  //等待电源稳定后初始化esp8266
  osDelay(1000);
  g_ota_state = OTA_STATE_WIFI_CONNECTING;
  ESP8266_Init();

  /* 上电第一次握手：AT 不通就别往联网流程里走。
   * 这一步专门用来区分"链路层问题"和"MQTT 配置问题"：
   *   模块不回 AT  -> 供电/接线/波特率/模块已死（noAT）
   *   模块回 AT    -> 链路没问题，后面的失败才可能是固件或云端配置
   * ESP-01S 峰值电流 300mA 以上，USB 供电或板载 LDO 带不动时，
   * 表现就是 WiFi 偶尔能连上、随后彻底沉默 */
  while (!ESP8266_SendCmd("AT\r\n", "OK", 1000))
  {
    g_mqtt_fail_stage = MQTT_STAGE_NO_AT;
    ESP_Log("[NET] AT no response -> check 3V3 / TX-RX / baud\r\n");
    ESP_DumpResp();
    osDelay(1000);
    ESP8266_Init();
  }
  g_mqtt_fail_stage = MQTT_STAGE_NONE;
  ESP_Log("[NET] AT ok\r\n");

  if (ESP8266_JoinAP("emp", "ay666888"))
  {
    g_ota_state =OTA_STATE_WIFI_CONNECTED;
    //osDelay(2000);
    //g_ota_state =OTA_STATE_DOWNLOADING;
    //if (ESP8266_HTTP_OTA_Download("192.168.137.13",80,"/firmware.bin"))
    //{
    //  g_ota_state = OTA_STATE_VERIFY_OK;
    //}
    //else
    //{
    //  g_ota_state = OTA_STATE_ERROR;
    //}
  }
  else
  {
    /* 连不上必须重试。原来失败一次就置 ERROR 然后永久停住，
     * 路由器重启/信号弱一时连不上，设备就再也回不来，只能手动复位 */
    ESP_Log("[NET] JoinAP failed\r\n");
    /* 失败原因必须打出来。ESP8266_JoinAP 内部是 CWMODE -> CWJAP 两条指令，
     * 哪一条失败、模块回的是 ERROR 还是 busy p... 还是根本没有应答，
     * 看这一行原文就能区分，不用猜。ESP-AT 忙的时候会回 "busy p..."，
     * 那是"指令排队满了"而不是"配网失败"，两者处理方式完全不同 */
    ESP_DumpResp();

    for (;;)
    {
      g_ota_state = OTA_STATE_ERROR;
      osDelay(5000);
      g_ota_state = OTA_STATE_WIFI_CONNECTING;

      if (ESP8266_JoinAP("emp", "ay666888"))
      {
        g_ota_state = OTA_STATE_WIFI_CONNECTED;
        break;
      }

      ESP_Log("[NET] JoinAP retry failed\r\n");
      ESP_DumpResp();
    }
  }

  /* Infinite loop */
  for(;;)
  {
    // 当联网成功且收到升级触发条件时，执行 HTTP OTA 下载
    // 测试时，你可以定义一个标志位 trigger_ota = 1 来触发
    osDelay(1000);
  }
  /* USER CODE END StartNetworkTask */
}

void StartDogTask(void *argument)
{
  /* USER CODE BEGIN StartDogTask */
  /* Infinite loop */
  for(;;)
  {
    osDelay(1000);
  }
  /* USER CODE END StartDogTask */
}
